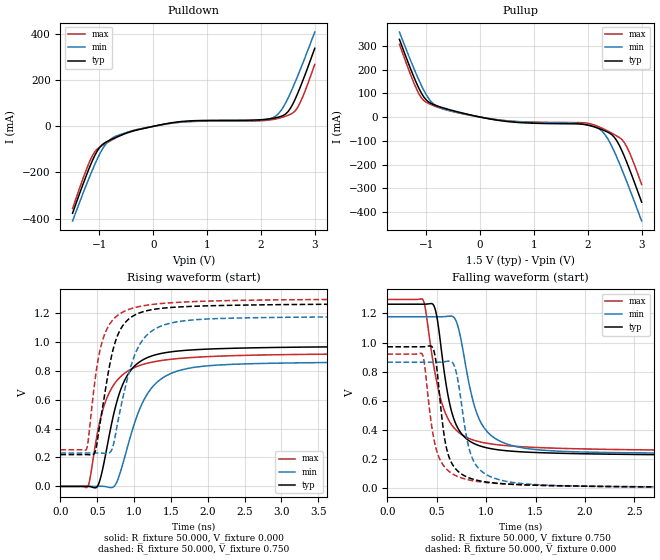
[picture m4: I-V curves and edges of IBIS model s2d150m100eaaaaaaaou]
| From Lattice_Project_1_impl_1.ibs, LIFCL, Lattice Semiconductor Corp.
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[Model] s2d150m100eaaaaaaaou
Model_type Output
Polarity   Non-Inverting
Enable   Active-High
Vmeas =  0.750V
Cref =  30.000pF
Rref =  50.000
Vref =  0.750V
C_comp   5.000pF   4.000pF   5.500pF
[Temperature Range]   25.000   0.125k   -40.000
[Voltage Range]   1.500V   1.430V   1.580V
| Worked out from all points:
|   slope of the pulldown table from 0 to 0.225 V, typ, clamps not added: 20.8 ohm
|   slope of the pullup table from 0 to 0.225 V, typ, clamps not added: 22.9 ohm
|   rising waveform, R_fixture 50.000, V_fixture 0.000: 20-80 % time 316ps typ, 400ps min, 332ps max; typ from 0 V to 0.97 V
|   rising waveform, R_fixture 50.000, V_fixture 0.750: 20-80 % time 250ps typ, 316ps min, 223ps max; typ from 0.22 V to 1.26 V
|   falling waveform, R_fixture 50.000, V_fixture 0.750: 20-80 % time 173ps typ, 218ps min, 209ps max; typ from 1.26 V to 0.22 V
|   falling waveform, R_fixture 50.000, V_fixture 0.000: 20-80 % time 126ps typ, 156ps min, 146ps max; typ from 0.97 V to 0 V
[Pulldown]
|Voltage   I(typ)   I(min)   I(max)
-1.5V     -377mA     -410.6mA   -356.7mA
-1.132V   -149mA     -189.6mA   -127.7mA
-902mV    -71.47mA   -82.81mA   -76.94mA
-718mV    -50.41mA   -45.1mA    -52.59mA
-350mV    -18.85mA   -17.24mA   -16.52mA
386mV     17.08mA    14.89mA    15.19mA
1.95V     28.02mA    26.48mA    23.75mA
2.272V    36.84mA    44.03mA    31.81mA
2.502V    63.37mA    121.7mA    47.87mA
2.64V     119.9mA    194.2mA    68.02mA
2.778V    198.3mA    274.2mA    128.9mA
3V        338.5mA    409mA      268.7mA
[Pullup]
|Voltage   I(typ)   I(min)   I(max)
-1.5V     326.9mA    357.8mA    306.3mA
-1.232V   168.7mA    204.6mA    143.8mA
-1.094V   101.5mA    133.8mA    81.4mA
-910mV    57.19mA    64.68mA    52.41mA
-772mV    44.78mA    41.83mA    40.01mA
378mV     -15.24mA   -12.99mA   -12.83mA
1.804V    -28.72mA   -26.31mA   -23.22mA
2.218V    -49mA      -50.86mA   -42.12mA
2.356V    -61.86mA   -85.9mA    -57.07mA
2.494V    -85.3mA    -146.1mA   -73.85mA
2.678V    -165mA     -245.8mA   -107.1mA
3V        -358.2mA   -437.4mA   -283.8mA
[Ramp]
| variable   typ   min   max
dV/dt_r   0.636/0.321n   0.573/0.405n   0.619/0.337n
dV/dt_f   0.646/0.272n   0.592/0.336n   0.640/0.366n
R_load = 50.000
[Rising Waveform]
R_fixture = 50.000
V_fixture = 0.000
V_fixture_min = 0.000
V_fixture_max = 0.000
|  time   V(typ)   V(min)   V(max)
0s        68.2uV     255.9uV    36.73uV
373ps     802.3uV    271.8uV    409.2uV
518ps     16.53mV    598.4uV    411.2mV
617ps     231.6mV    -1.67mV    593.6mV
731ps     517.5mV    1.645mV    707.6mV
958ps     804.6mV    359.1mV    810.4mV
1.151ns   883.5mV    614.9mV    847.8mV
1.39ns    921.3mV    751mV      871.7mV
2.594ns   957.7mV    848.3mV    907mV
10ns      970.5mV    864.6mV    920.2mV
[Rising Waveform]
R_fixture = 50.000
V_fixture = 0.750
V_fixture_min = 0.713
V_fixture_max = 0.789
|  time   V(typ)   V(min)   V(max)
0s        220mV      230.8mV    253.1mV
356ps     220.3mV    230.8mV    260.1mV
478ps     251mV      231mV      768.3mV
568ps     533.2mV    230mV      1.003V
680ps     869mV      239.6mV    1.13V
828ps     1.097V     568.7mV    1.2V
1.06ns    1.197V     966.3mV    1.242V
1.369ns   1.231V     1.109V     1.264V
1.978ns   1.248V     1.157V     1.28V
10ns      1.264V     1.177V     1.296V
[Falling Waveform]
R_fixture = 50.000
V_fixture = 0.750
V_fixture_min = 0.713
V_fixture_max = 0.789
|  time   V(typ)   V(min)   V(max)
0s        1.264V     1.177V     1.296V
362ps     1.263V     1.177V     1.293V
471ps     1.254V     1.177V     833.7mV
511ps     1.138V     1.177V     692.9mV
562ps     866.8mV    1.178V     562.1mV
679ps     463.2mV    1.169V     409.7mV
898ps     298.5mV    528.1mV    323.2mV
1.089ns   265mV      340.9mV    298.7mV
2.211ns   232.1mV    243.4mV    264.9mV
10ns      220mV      230.8mV    253.1mV
[Falling Waveform]
R_fixture = 50.000
V_fixture = 0.000
V_fixture_min = 0.000
V_fixture_max = 0.000
|  time   V(typ)   V(min)   V(max)
0s        970.5mV    864.6mV    920.2mV
356ps     970.4mV    864.4mV    916mV
461ps     962.4mV    864.4mV    373.4mV
581ps     335.4mV    868.2mV    142.9mV
658ps     162.3mV    863.2mV    97.15mV
708ps     118.6mV    761.6mV    79.34mV
839ps     65.75mV    243mV      52.55mV
998ps     40.62mV    92.71mV    36.85mV
2.081ns   10.77mV    10.86mV    9.749mV
10ns      68.2uV     255.9uV    36.73uV
